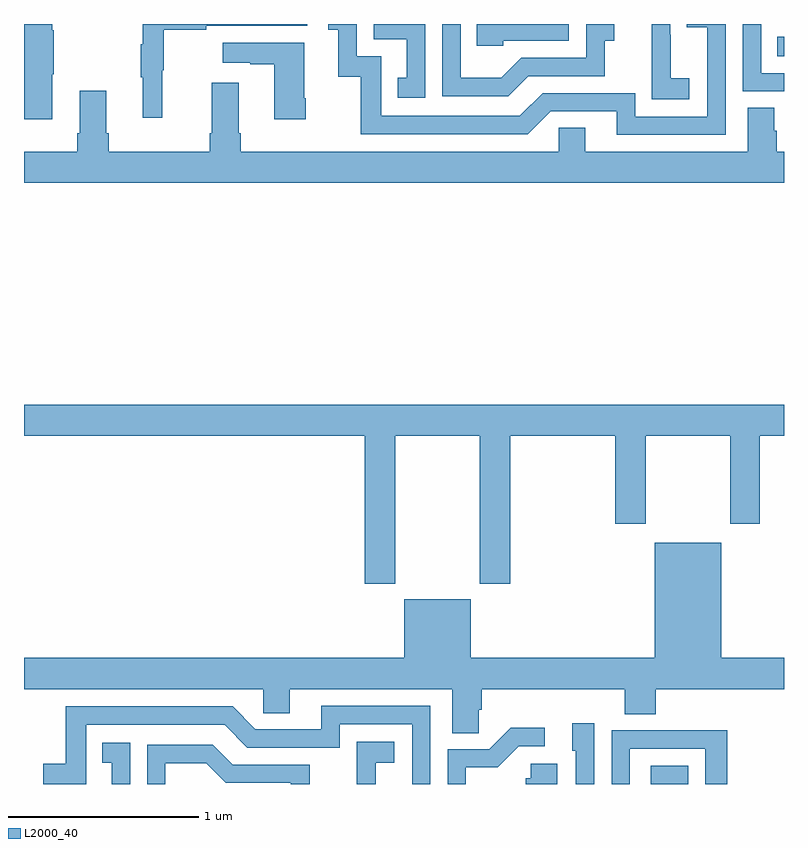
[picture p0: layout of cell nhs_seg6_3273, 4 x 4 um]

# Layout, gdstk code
import gdstk
lib = gdstk.Library(unit=1e-6, precision=1e-09)
def R(c, l, rs):  # rectangles x0, y0, x1, y1
    for r in rs: c.add(gdstk.rectangle(r[:2], r[2:], *l))
def P(c, l, *ps):  # polygons
    for p in ps: c.add(gdstk.Polygon(p, *l))
L2000_40 = (2000, 40)

nhs_seg6_3273 = lib.new_cell('nhs_seg6_3273')
R(nhs_seg6_3273, L2000_40, [(306.299,949.5,306.496,949.597), (306.964,953.33,307,953.434)])
P(nhs_seg6_3273, L2000_40, [(303.148,953.236),(303.156,953.236),(303.156,953.466),(303.148,953.466),(303.148,953.5),(303,953.5),(303,952.998),(303.148,952.998)],
  [(305.112,953.5),(304.842,953.5),(304.842,953.421),(305.015,953.421),(305.015,953.217),(304.966,953.217),(304.966,953.112),(305.112,953.112)],
  [(303.728,953.256),(303.736,953.256),(303.736,953.47),(303.959,953.47),(303.959,953.49),(304.492,953.49),(304.492,953.5),(303.626,953.5),(303.626,953.393),(303.615,953.393),(303.615,953.219),(303.626,953.219),(303.626,953.007),(303.728,953.007)],
  [(307,953.241),(306.879,953.241),(306.879,953.5),(306.783,953.5),(306.783,953.145),(307,953.145)],
  [(306.693,953.5),(306.487,953.5),(306.487,953.482),(306.597,953.482),(306.597,953.013),(306.216,953.013),(306.216,953.136),(305.73,953.136),(305.61,953.016),(304.881,953.016),(304.881,953.331),(304.752,953.331),(304.752,953.5),(304.602,953.5),(304.602,953.469),(304.655,953.469),(304.655,953.223),(304.773,953.223),(304.773,952.92),(305.652,952.92),(305.772,953.04),(306.119,953.04),(306.119,952.917),(306.693,952.917)],
  [(305.653,953.226),(306.057,953.226),(306.057,953.411),(306.106,953.411),(306.106,953.5),(305.958,953.5),(305.958,953.322),(305.616,953.322),(305.512,953.218),(305.298,953.218),(305.298,953.5),(305.202,953.5),(305.202,953.121),(305.548,953.121)],
  [(305.523,953.412),(305.868,953.412),(305.868,953.5),(305.383,953.5),(305.383,953.385),(305.523,953.385)],
  [(306.502,953.215),(306.404,953.215),(306.404,953.444),(306.402,953.444),(306.402,953.5),(306.305,953.5),(306.305,953.311),(306.304,953.311),(306.304,953.105),(306.502,953.105)],
  [(304.482,953.11),(304.474,953.11),(304.474,953.401),(304.047,953.401),(304.047,953.297),(304.19,953.297),(304.19,953.287),(304.316,953.287),(304.316,952.998),(304.482,952.998)],
  [(307,952.828),(306.962,952.828),(306.962,952.937),(306.948,952.937),(306.948,953.06),(306.809,953.06),(306.809,952.828),(305.953,952.828),(305.953,952.955),(305.814,952.955),(305.814,952.828),(304.142,952.828),(304.142,952.924),(304.129,952.924),(304.129,953.191),(303.989,953.191),(303.989,952.924),(303.977,952.924),(303.977,952.828),(303.446,952.828),(303.446,952.924),(303.433,952.924),(303.433,953.149),(303.293,953.149),(303.293,952.924),(303.281,952.924),(303.281,952.828),(303,952.828),(303,952.664),(307,952.664)],
  [(304.953,951.332),(305.398,951.332),(305.398,950.553),(305.558,950.553),(305.558,951.332),(306.113,951.332),(306.113,950.871),(306.273,950.871),(306.273,951.332),(306.718,951.332),(306.718,950.871),(306.873,950.871),(306.873,951.332),(307,951.332),(307,951.496),(303,951.496),(303,951.332),(304.793,951.332),(304.793,950.553),(304.953,950.553)],
  [(305.394,949.891),(305.408,949.891),(305.408,950),(306.161,950),(306.161,949.867),(306.326,949.867),(306.326,950),(307,950),(307,950.164),(306.67,950.164),(306.67,950.77),(306.32,950.77),(306.32,950.164),(305.35,950.164),(305.35,950.473),(305,950.473),(305,950.164),(303,950.164),(303,950),(304.26,950),(304.26,949.873),(304.399,949.873),(304.399,950),(305.255,950),(305.255,949.768),(305.394,949.768)],
  [(303.327,949.812),(304.056,949.812),(304.176,949.692),(304.662,949.692),(304.662,949.815),(305.043,949.815),(305.043,949.5),(305.139,949.5),(305.139,949.911),(304.565,949.911),(304.565,949.788),(304.218,949.788),(304.098,949.908),(303.219,949.908),(303.219,949.606),(303.101,949.606),(303.101,949.5),(303.327,949.5)],
  [(306,949.819),(305.885,949.819),(305.885,949.674),(305.904,949.674),(305.904,949.5),(306,949.5)],
  [(305.325,949.587),(305.494,949.587),(305.605,949.698),(305.74,949.698),(305.74,949.796),(305.561,949.796),(305.448,949.683),(305.229,949.683),(305.229,949.5),(305.325,949.5)],
  [(306.189,949.686),(306.585,949.686),(306.585,949.5),(306.701,949.5),(306.701,949.784),(306.409,949.784),(306.409,949.782),(306.093,949.782),(306.093,949.5),(306.189,949.5)],
  [(304.85,949.613),(304.948,949.613),(304.948,949.723),(304.75,949.723),(304.75,949.517),(304.751,949.517),(304.751,949.5),(304.85,949.5)],
  [(303.558,949.717),(303.412,949.717),(303.412,949.611),(303.461,949.611),(303.461,949.5),(303.558,949.5)],
  [(303.744,949.61),(303.958,949.61),(304.062,949.506),(304.404,949.506),(304.404,949.5),(304.503,949.5),(304.503,949.602),(304.099,949.602),(303.994,949.707),(303.648,949.707),(303.648,949.5),(303.744,949.5)],
  [(305.806,949.606),(305.667,949.606),(305.667,949.53),(305.641,949.53),(305.641,949.5),(305.806,949.5)])

lib.write_gds('nhs_seg6_3273.gds')
